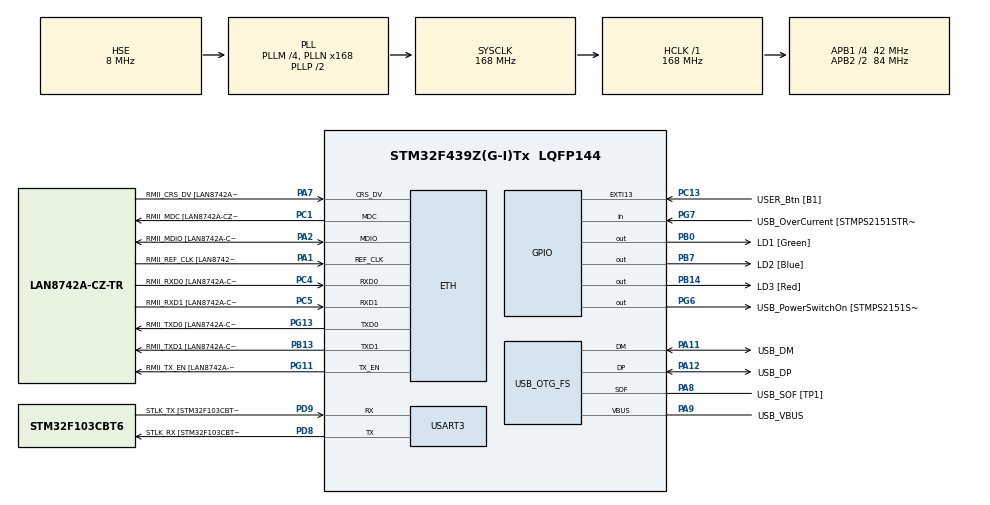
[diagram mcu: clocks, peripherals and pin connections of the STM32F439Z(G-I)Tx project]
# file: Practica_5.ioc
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ETH.MediaInterface=HAL_ETH_RMII_MODE
ETH.PHY_Name=LAN8742A_PHY_ADDRESS
ETH.PHY_Value=0
ETH.PhyAddress=0
Mcu.Family=STM32F4
Mcu.Name=STM32F439Z(G-I)Tx
Mcu.Package=LQFP144
NVIC.PriorityGroup=NVIC_PRIORITYGROUP_4
PA1.GPIO_Label=RMII_REF_CLK [LAN8742A-CZ-TR_REFCLK0]
PA1.Mode=RMII
PA1.Signal=ETH_REF_CLK
PA10.GPIO_Label=USB_ID
PA10.Signal=USB_OTG_FS_ID
PA11.GPIO_Label=USB_DM
PA11.Mode=Device_Only
PA11.Signal=USB_OTG_FS_DM
PA12.GPIO_Label=USB_DP
PA12.Mode=Device_Only
PA12.Signal=USB_OTG_FS_DP
PA13.GPIO_Label=TMS
PA13.Mode=Serial_Wire
PA13.Signal=SYS_JTMS-SWDIO
PA14.GPIO_Label=TCK
PA14.Mode=Serial_Wire
PA14.Signal=SYS_JTCK-SWCLK
PA2.GPIO_Label=RMII_MDIO [LAN8742A-CZ-TR_MDIO]
PA2.Mode=RMII
PA2.Signal=ETH_MDIO
PA7.GPIO_Label=RMII_CRS_DV [LAN8742A-CZ-TR_CRS_DV]
PA7.Mode=RMII
PA7.Signal=ETH_CRS_DV
PA8.GPIO_Label=USB_SOF [TP1]
PA8.Mode=Activate_SOF_FS
PA8.Signal=USB_OTG_FS_SOF
PA9.GPIO_Label=USB_VBUS
PA9.Mode=Activate_VBUS
PA9.Signal=USB_OTG_FS_VBUS
PB0.GPIO_Label=LD1 [Green]
PB0.Signal=GPIO_Output
PB13.GPIO_Label=RMII_TXD1 [LAN8742A-CZ-TR_TXD1]
PB13.Mode=RMII
PB13.Signal=ETH_TXD1
PB14.GPIO_Label=LD3 [Red]
PB14.Signal=GPIO_Output
PB7.GPIO_Label=LD2 [Blue]
PB7.Signal=GPIO_Output
PC1.GPIO_Label=RMII_MDC [LAN8742A-CZ-TR_MDC]
PC1.Mode=RMII
PC1.Signal=ETH_MDC
PC13.GPIO_Label=USER_Btn [B1]
PC13.Signal=GPXTI13
PC14/OSC32_IN.Mode=LSE-External-Oscillator
PC14/OSC32_IN.Signal=RCC_OSC32_IN
PC15/OSC32_OUT.Mode=LSE-External-Oscillator
PC15/OSC32_OUT.Signal=RCC_OSC32_OUT
PC4.GPIO_Label=RMII_RXD0 [LAN8742A-CZ-TR_RXD0]
PC4.Mode=RMII
PC4.Signal=ETH_RXD0
PC5.GPIO_Label=RMII_RXD1 [LAN8742A-CZ-TR_RXD1]
PC5.Mode=RMII
PC5.Signal=ETH_RXD1
PD8.GPIO_Label=STLK_RX [STM32F103CBT6_PA3]
PD8.Mode=Asynchronous
PD8.Signal=USART3_TX
PD9.GPIO_Label=STLK_TX [STM32F103CBT6_PA2]
PD9.Mode=Asynchronous
PD9.Signal=USART3_RX
PG11.GPIO_Label=RMII_TX_EN [LAN8742A-CZ-TR_TXEN]
PG11.Mode=RMII
PG11.Signal=ETH_TX_EN
PG13.GPIO_Label=RMII_TXD0 [LAN8742A-CZ-TR_TXD0]
PG13.Mode=RMII
PG13.Signal=ETH_TXD0
PG6.GPIO_Label=USB_PowerSwitchOn [STMPS2151STR_EN]
PG6.Signal=GPIO_Output
PG7.GPIO_Label=USB_OverCurrent [STMPS2151STR_FAULT]
PG7.Signal=GPIO_Input
PH0/OSC_IN.GPIO_Label=MCO [STM32F103CBT6_PA8]
PH0/OSC_IN.Mode=HSE-External-Clock-Source
PH0/OSC_IN.Signal=RCC_OSC_IN
PH1/OSC_OUT.Mode=HSE-External-Clock-Source
PH1/OSC_OUT.Signal=RCC_OSC_OUT
ProjectManager.HeapSize=0x200
ProjectManager.StackSize=0x400
ProjectManager.TargetToolchain=STM32CubeIDE
RCC.48MHZClocksFreq_Value=48000000
RCC.AHBFreq_Value=168000000
RCC.APB1CLKDivider=RCC_HCLK_DIV4
RCC.APB1Freq_Value=42000000
RCC.APB1TimFreq_Value=84000000
RCC.APB2CLKDivider=RCC_HCLK_DIV2
RCC.APB2Freq_Value=84000000
RCC.APB2TimCLKDivider=2
RCC.APB2TimFreq_Value=168000000
RCC.CortexFreq_Value=168000000
RCC.HCLKFreq_Value=168000000
RCC.HSE_VALUE=8000000
RCC.HSI_VALUE=16000000
RCC.PLLM=4
RCC.PLLMUL=RCC_PLL_MUL9
RCC.PLLN=168
RCC.PLLQ=7
RCC.PRESCALERUSB=RCC_USBCLKSOURCE_PLL_DIV1_5
RCC.SYSCLKFreq_VALUE=168000000
RCC.SYSCLKSource=RCC_SYSCLKSOURCE_PLLCLK
RCC.SYSCLKSourceVirtual=RCC_SYSCLKSOURCE_PLLCLK
RCC.USBFreq_Value=48000000
RCC.VCOOutputFreq_Value=336000000
USART3.VirtualMode=VM_ASYNC
USB_OTG_FS.VirtualMode=Device_Only
board=NUCLEO-F439ZI

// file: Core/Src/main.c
/* USER CODE BEGIN Header */
/**
  ******************************************************************************
  * @file           : main.c
  * @brief          : Main program body
  ******************************************************************************
  * @attention
  *
  * Copyright (c) 2023 STMicroelectronics.
  * All rights reserved.
  *
  * This software is licensed under terms that can be found in the LICENSE file
  * in the root directory of this software component.
  * If no LICENSE file comes with this software, it is provided AS-IS.
  *
  ******************************************************************************
  */
/* USER CODE END Header */
#include "main.h"
#include "string.h"

/* USER CODE BEGIN Includes */

#include "API_delay.h"
#include "API_debounce.h"

/* USER CODE END Includes */

/* USER CODE BEGIN PTD */

/*
 * Velocidades de toggleo del led (de acuerdo al enunciado 100 y 500 ms)
 */
const uint32_t duracionVelocidadBaja = 100u;
const uint32_t duracionVelocidadAlta = 500u;
/*
 * Variable que mantiene el retardo actual
 */
uint32_t duracionVelocidadActual;
/*
 * Retardo usado para el control de la velocidad de toggleo del led
 */
delay_t retardoLed;

/* USER CODE END PTD */

ETH_TxPacketConfig TxConfig;
ETH_DMADescTypeDef  DMARxDscrTab[ETH_RX_DESC_CNT]; /* Ethernet Rx DMA Descriptors */
ETH_DMADescTypeDef  DMATxDscrTab[ETH_TX_DESC_CNT]; /* Ethernet Tx DMA Descriptors */

ETH_HandleTypeDef heth;

UART_HandleTypeDef huart3;

PCD_HandleTypeDef hpcd_USB_OTG_FS;

void SystemClock_Config(void);
static void MX_GPIO_Init(void);
static void MX_ETH_Init(void);
static void MX_USART3_UART_Init(void);
static void MX_USB_OTG_FS_PCD_Init(void);

int main(void)
{

  /* MCU Configuration--------------------------------------------------------*/

  /* Reset of all peripherals, Initializes the Flash interface and the Systick. */
  HAL_Init();

  /* Configure the system clock */
  SystemClock_Config();

  /* Initialize all configured peripherals */
  MX_GPIO_Init();
  MX_ETH_Init();
  MX_USART3_UART_Init();
  MX_USB_OTG_FS_PCD_Init();
  /* USER CODE BEGIN 2 */

  // inicia FSM
  debounceFSM_init();
  // velocidad inicial
  duracionVelocidadActual = duracionVelocidadBaja;
  // inicio y lectura para activar del retardo de toggleo
  delayInit(&retardoLed, duracionVelocidadActual);
  delayRead(&retardoLed);

  /* USER CODE END 2 */

  /* Infinite loop */
  /* USER CODE BEGIN WHILE */

  while (1)
  {
	  // actualiza la FSM
	  debounceFSM_update();
	  // si se ha presionado
	  if (readKey()) {
		  // controla velocidad y cambia velocidad
		  if (duracionVelocidadBaja == duracionVelocidadActual) {
			  duracionVelocidadActual = duracionVelocidadAlta;
		  } else {
			  duracionVelocidadActual = duracionVelocidadBaja;
		  }
		  // se cambia el retardo asociado al toggleo del led
		  delayWrite(&retardoLed, duracionVelocidadActual);
	  }
	  // cambio led
	  if (delayRead(&retardoLed)) {
	  	HAL_GPIO_TogglePin(LD1_GPIO_Port, LD1_Pin);
	  }

	  /* USER CODE END WHILE */

  }
}

void SystemClock_Config(void)
{
  RCC_OscInitTypeDef RCC_OscInitStruct = {0};
  RCC_ClkInitTypeDef RCC_ClkInitStruct = {0};

  /** Configure the main internal regulator output voltage
  */
  __HAL_RCC_PWR_CLK_ENABLE();
  __HAL_PWR_VOLTAGESCALING_CONFIG(PWR_REGULATOR_VOLTAGE_SCALE1);

  /** Initializes the RCC Oscillators according to the specified parameters
  * in the RCC_OscInitTypeDef structure.
  */
  RCC_OscInitStruct.OscillatorType = RCC_OSCILLATORTYPE_HSE;
  RCC_OscInitStruct.HSEState = RCC_HSE_BYPASS;
  RCC_OscInitStruct.PLL.PLLState = RCC_PLL_ON;
  RCC_OscInitStruct.PLL.PLLSource = RCC_PLLSOURCE_HSE;
  RCC_OscInitStruct.PLL.PLLM = 4;
  RCC_OscInitStruct.PLL.PLLN = 168;
  RCC_OscInitStruct.PLL.PLLP = RCC_PLLP_DIV2;
  RCC_OscInitStruct.PLL.PLLQ = 7;
  if (HAL_RCC_OscConfig(&RCC_OscInitStruct) != HAL_OK)
  {
    Error_Handler();
  }

  /** Initializes the CPU, AHB and APB buses clocks
  */
  RCC_ClkInitStruct.ClockType = RCC_CLOCKTYPE_HCLK|RCC_CLOCKTYPE_SYSCLK
                              |RCC_CLOCKTYPE_PCLK1|RCC_CLOCKTYPE_PCLK2;
  RCC_ClkInitStruct.SYSCLKSource = RCC_SYSCLKSOURCE_PLLCLK;
  RCC_ClkInitStruct.AHBCLKDivider = RCC_SYSCLK_DIV1;
  RCC_ClkInitStruct.APB1CLKDivider = RCC_HCLK_DIV4;
  RCC_ClkInitStruct.APB2CLKDivider = RCC_HCLK_DIV2;

  if (HAL_RCC_ClockConfig(&RCC_ClkInitStruct, FLASH_LATENCY_5) != HAL_OK)
  {
    Error_Handler();
  }
}

static void MX_ETH_Init(void)
{

   static uint8_t MACAddr[6];

  heth.Instance = ETH;
  MACAddr[0] = 0x00;
  MACAddr[1] = 0x80;
  MACAddr[2] = 0xE1;
  MACAddr[3] = 0x00;
  MACAddr[4] = 0x00;
  MACAddr[5] = 0x00;
  heth.Init.MACAddr = &MACAddr[0];
  heth.Init.MediaInterface = HAL_ETH_RMII_MODE;
  heth.Init.TxDesc = DMATxDscrTab;
  heth.Init.RxDesc = DMARxDscrTab;
  heth.Init.RxBuffLen = 1524;

  if (HAL_ETH_Init(&heth) != HAL_OK)
  {
    Error_Handler();
  }

  memset(&TxConfig, 0 , sizeof(ETH_TxPacketConfig));
  TxConfig.Attributes = ETH_TX_PACKETS_FEATURES_CSUM | ETH_TX_PACKETS_FEATURES_CRCPAD;
  TxConfig.ChecksumCtrl = ETH_CHECKSUM_IPHDR_PAYLOAD_INSERT_PHDR_CALC;
  TxConfig.CRCPadCtrl = ETH_CRC_PAD_INSERT;

}

static void MX_USART3_UART_Init(void)
{

  huart3.Instance = USART3;
  huart3.Init.BaudRate = 115200;
  huart3.Init.WordLength = UART_WORDLENGTH_8B;
  huart3.Init.StopBits = UART_STOPBITS_1;
  huart3.Init.Parity = UART_PARITY_NONE;
  huart3.Init.Mode = UART_MODE_TX_RX;
  huart3.Init.HwFlowCtl = UART_HWCONTROL_NONE;
  huart3.Init.OverSampling = UART_OVERSAMPLING_16;
  if (HAL_UART_Init(&huart3) != HAL_OK)
  {
    Error_Handler();
  }

}

static void MX_USB_OTG_FS_PCD_Init(void)
{

  hpcd_USB_OTG_FS.Instance = USB_OTG_FS;
  hpcd_USB_OTG_FS.Init.dev_endpoints = 4;
  hpcd_USB_OTG_FS.Init.speed = PCD_SPEED_FULL;
  hpcd_USB_OTG_FS.Init.dma_enable = DISABLE;
  hpcd_USB_OTG_FS.Init.phy_itface = PCD_PHY_EMBEDDED;
  hpcd_USB_OTG_FS.Init.Sof_enable = ENABLE;
  hpcd_USB_OTG_FS.Init.low_power_enable = DISABLE;
  hpcd_USB_OTG_FS.Init.lpm_enable = DISABLE;
  hpcd_USB_OTG_FS.Init.vbus_sensing_enable = ENABLE;
  hpcd_USB_OTG_FS.Init.use_dedicated_ep1 = DISABLE;
  if (HAL_PCD_Init(&hpcd_USB_OTG_FS) != HAL_OK)
  {
    Error_Handler();
  }

}

static void MX_GPIO_Init(void)
{
  GPIO_InitTypeDef GPIO_InitStruct = {0};

  /* GPIO Ports Clock Enable */
  __HAL_RCC_GPIOC_CLK_ENABLE();
  __HAL_RCC_GPIOH_CLK_ENABLE();
  __HAL_RCC_GPIOA_CLK_ENABLE();
  __HAL_RCC_GPIOB_CLK_ENABLE();
  __HAL_RCC_GPIOD_CLK_ENABLE();
  __HAL_RCC_GPIOG_CLK_ENABLE();

  /*Configure GPIO pin Output Level */
  HAL_GPIO_WritePin(GPIOB, LD1_Pin|LD3_Pin|LD2_Pin, GPIO_PIN_RESET);

  /*Configure GPIO pin Output Level */
  HAL_GPIO_WritePin(USB_PowerSwitchOn_GPIO_Port, USB_PowerSwitchOn_Pin, GPIO_PIN_RESET);

  /*Configure GPIO pin : USER_Btn_Pin */
  GPIO_InitStruct.Pin = USER_Btn_Pin;
  GPIO_InitStruct.Mode = GPIO_MODE_IT_RISING;
  GPIO_InitStruct.Pull = GPIO_NOPULL;
  HAL_GPIO_Init(USER_Btn_GPIO_Port, &GPIO_InitStruct);

  /*Configure GPIO pins : LD1_Pin LD3_Pin LD2_Pin */
  GPIO_InitStruct.Pin = LD1_Pin|LD3_Pin|LD2_Pin;
  GPIO_InitStruct.Mode = GPIO_MODE_OUTPUT_PP;
  GPIO_InitStruct.Pull = GPIO_NOPULL;
  GPIO_InitStruct.Speed = GPIO_SPEED_FREQ_LOW;
  HAL_GPIO_Init(GPIOB, &GPIO_InitStruct);

  /*Configure GPIO pin : USB_PowerSwitchOn_Pin */
  GPIO_InitStruct.Pin = USB_PowerSwitchOn_Pin;
  GPIO_InitStruct.Mode = GPIO_MODE_OUTPUT_PP;
  GPIO_InitStruct.Pull = GPIO_NOPULL;
  GPIO_InitStruct.Speed = GPIO_SPEED_FREQ_LOW;
  HAL_GPIO_Init(USB_PowerSwitchOn_GPIO_Port, &GPIO_InitStruct);

  /*Configure GPIO pin : USB_OverCurrent_Pin */
  GPIO_InitStruct.Pin = USB_OverCurrent_Pin;
  GPIO_InitStruct.Mode = GPIO_MODE_INPUT;
  GPIO_InitStruct.Pull = GPIO_NOPULL;
  HAL_GPIO_Init(USB_OverCurrent_GPIO_Port, &GPIO_InitStruct);

}

void Error_Handler(void)
{
  __disable_irq();
  while (1)
  {
  }
}
